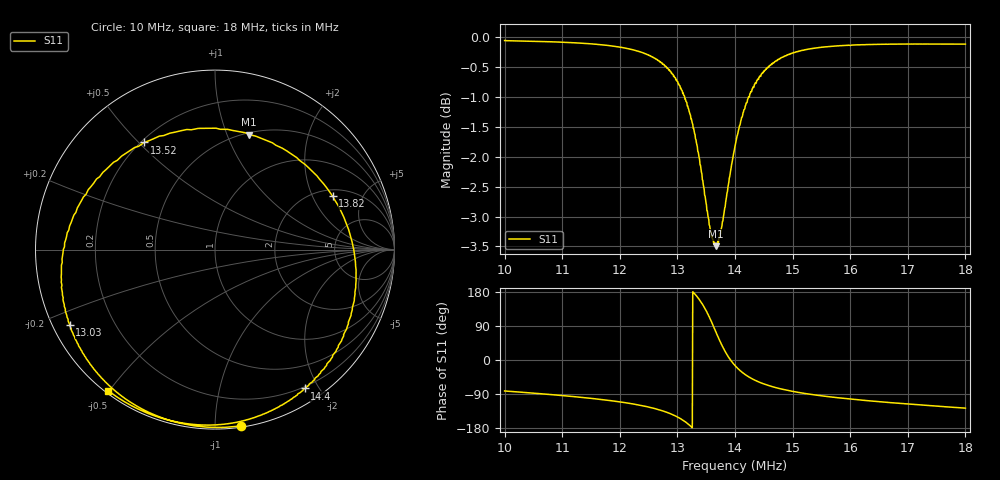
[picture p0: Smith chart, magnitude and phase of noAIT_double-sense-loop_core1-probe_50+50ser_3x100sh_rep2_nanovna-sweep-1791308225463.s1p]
! NanoVNA Web complex sweep
! Processing: unaveraged complex samples; linear segment spacing; no smoothing
# Hz S RI R 50
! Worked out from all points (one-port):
!   1010 points, 10 MHz to 18 MHz, reference 50 ohm
!   lowest |S11| = -3.5 dB at 13.67 MHz (marker M1), VSWR 5.04, Z = 25.9 + j60.1 ohm
!   |S11| at or under -10 dB: nowhere
!   S11 on the Smith chart (normalised r, x): 10 MHz: 0.01, -1.16; 13.03 MHz: 0.05, -0.24; 13.52 MHz: 0.21, +0.52; 13.82 MHz: 2.33, +2.87; 14.4 MHz: 0.18, -1.82; 18 MHz: 0.01, -0.50
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1e7  0.1429 -0.9825
1.100698e7  -0.0676 -0.9873
1.200604e7  -0.3455 -0.9173
1.233906e7  -0.4714 -0.85
1.260864e7  -0.5937 -0.754
1.282272e7  -0.7046 -0.6255
1.300509e7  -0.8002 -0.449
1.302888e7  -0.8091 -0.4195
1.320332e7  -0.8557 -0.137
1.332225e7  -0.81 0.1322
1.342533e7  -0.6599 0.3937
1.352048e7  -0.3948 0.5968
1.359977e7  -0.0933 0.6753
1.367113e7  0.1897 0.6413
1.374249e7  0.4556 0.5124
1.382178e7  0.6557 0.2967
1.390107e7  0.7598 0.0592
1.400414e7  0.7842 -0.21
1.409136e7  0.7429 -0.4039
1.418651e7  0.6777 -0.5566
1.428166e7  0.599 -0.6717
1.44006e7  0.5006 -0.7738
1.466225e7  0.3105 -0.8991
1.50032e7  0.1206 -0.9617
1.544722e7  -0.0587 -0.9777
1.600225e7  -0.2212 -0.9584
1.700131e7  -0.4345 -0.8853
1.800036e7  -0.5939 -0.7871
